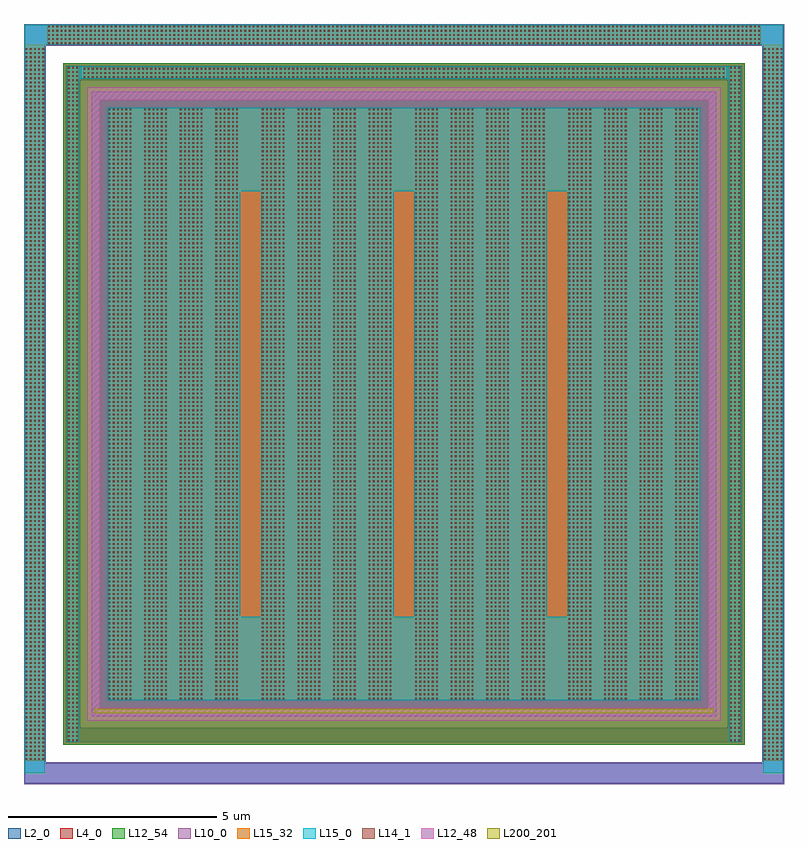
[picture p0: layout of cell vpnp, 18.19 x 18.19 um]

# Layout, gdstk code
import gdstk
lib = gdstk.Library(unit=1e-6, precision=1e-09)
def R(c, l, rs):  # rectangles x0, y0, x1, y1
    for r in rs: c.add(gdstk.rectangle(r[:2], r[2:], *l))
def A(c, l, x, y, w, h, nx, ny, dx, dy):  # array of equal rectangles
    R(c, l, [(x+i*dx, y+j*dy, x+i*dx+w, y+j*dy+h) for i in range(nx) for j in range(ny)])
L2_0 = (2, 0)
L4_0 = (4, 0)
L10_0 = (10, 0)
L12_48 = (12, 48)
L12_54 = (12, 54)
L14_1 = (14, 1)
L15_0 = (15, 0)
L15_32 = (15, 32)
L200_201 = (200, 201)

vpnp = lib.new_cell('vpnp')
R(vpnp, L2_0, [(-15.579,-7.609,2.573,-7.129), (-15.579,-7.129,-15.099,10.063), (2.093,-7.129,2.573,10.063), (-14.599,-6.629,1.593,-6.289), (-14.599,-6.289,-14.259,9.223), (1.253,-6.289,1.593,9.223), (-13.903,-5.933,0.897,8.867), (-14.599,9.223,1.593,9.563), (-15.579,10.063,2.573,10.543)])
R(vpnp, L4_0, [(-14.655,-6.685,1.649,9.619)])
R(vpnp, L10_0, [(-15.6,-7.63,2.594,-7.108), (-15.6,-7.108,-15.078,10.042), (2.072,-7.108,2.594,10.042), (-13.973,-6.003,0.967,8.937), (-15.6,10.042,2.594,10.564)])
R(vpnp, L12_48, [(-14.084,-6.114,1.078,-5.808), (-14.084,-5.808,-13.778,8.742), (0.772,-5.808,1.078,8.742), (-14.084,8.742,1.078,9.048)])
R(vpnp, L12_54, [(-14.655,-6.685,1.649,9.619)])
A(vpnp, L14_1, -15.559, -7.053, 0.04, 0.04, 5, 171, 0.1, 0.1)
A(vpnp, L14_1, 2.113, -7.053, 0.04, 0.04, 5, 171, 0.1, 0.1)
A(vpnp, L14_1, -14.549, -6.603, 0.04, 0.04, 3, 162, 0.1, 0.1)
A(vpnp, L14_1, 1.303, -6.603, 0.04, 0.04, 3, 162, 0.1, 0.1)
A(vpnp, L14_1, -13.573, -5.603, 0.04, 0.04, 6, 142, 0.1, 0.1)
A(vpnp, L14_1, -12.721, -5.603, 0.04, 0.04, 6, 142, 0.1, 0.1)
A(vpnp, L14_1, -11.869, -5.603, 0.04, 0.04, 6, 142, 0.1, 0.1)
A(vpnp, L14_1, -11.017, -5.603, 0.04, 0.04, 6, 142, 0.1, 0.1)
A(vpnp, L14_1, -9.904, -5.603, 0.04, 0.04, 6, 142, 0.1, 0.1)
A(vpnp, L14_1, -9.052, -5.603, 0.04, 0.04, 6, 142, 0.1, 0.1)
A(vpnp, L14_1, -8.2, -5.603, 0.04, 0.04, 6, 142, 0.1, 0.1)
A(vpnp, L14_1, -7.348, -5.603, 0.04, 0.04, 6, 142, 0.1, 0.1)
A(vpnp, L14_1, -6.235, -5.603, 0.04, 0.04, 6, 142, 0.1, 0.1)
A(vpnp, L14_1, -5.383, -5.603, 0.04, 0.04, 6, 142, 0.1, 0.1)
A(vpnp, L14_1, -4.531, -5.603, 0.04, 0.04, 6, 142, 0.1, 0.1)
A(vpnp, L14_1, -3.679, -5.603, 0.04, 0.04, 6, 142, 0.1, 0.1)
A(vpnp, L14_1, -2.566, -5.603, 0.04, 0.04, 6, 142, 0.1, 0.1)
A(vpnp, L14_1, -1.714, -5.603, 0.04, 0.04, 6, 142, 0.1, 0.1)
A(vpnp, L14_1, -0.862, -5.603, 0.04, 0.04, 6, 142, 0.1, 0.1)
A(vpnp, L14_1, -0.01, -5.603, 0.04, 0.04, 6, 142, 0.1, 0.1)
A(vpnp, L14_1, -14.173, 9.273, 0.04, 0.04, 154, 3, 0.1, 0.1)
A(vpnp, L14_1, -15.023, 10.083, 0.04, 0.04, 171, 5, 0.1, 0.1)
A(vpnp, L15_0, -13.591, -3.621, 3.169, 10.176, 4, 1, 3.669, 0)
R(vpnp, L15_0, [(-15.577,-7.369,-15.101,10.541), (2.095,-7.369,2.571,10.541), (-14.567,-6.621,-14.291,9.555), (1.285,-6.621,1.561,9.555), (-13.591,-5.621,0.585,-3.621), (-13.591,6.555,0.585,8.555), (-14.291,9.255,1.285,9.555), (-15.101,10.065,2.095,10.541)])
R(vpnp, L15_32, [(-15.577,-7.071,-15.101,10.065), (2.095,-7.071,2.571,10.065), (-14.567,-6.621,-14.291,9.555), (1.285,-6.621,1.561,9.555), (-13.591,-5.621,0.585,8.555), (-14.191,9.255,1.185,9.531), (-15.041,10.065,2.035,10.541)])
R(vpnp, L200_201, [(-13.903,-5.933,0.897,-5.833)])

lib.write_gds('vpnp.gds')
